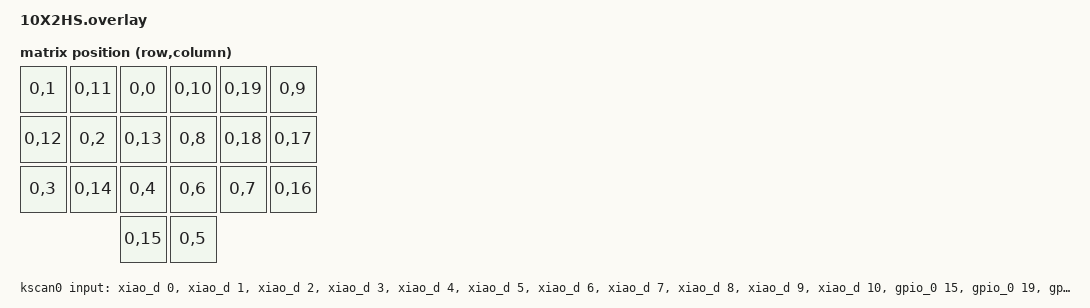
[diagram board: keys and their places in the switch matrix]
#include <dt-bindings/zmk/matrix_transform.h>
#include "10X2HS-layouts.dtsi"

/ {
    chosen {
        zmk,physical-layout = &tenxtwohs_physical_layout;
    };
};

/ {

    kscan0: kscan {
        compatible = "zmk,kscan-gpio-direct";
        input-gpios
            = <&xiao_d 0 (GPIO_ACTIVE_HIGH | GPIO_PULL_UP)>
            , <&xiao_d 1 (GPIO_ACTIVE_HIGH | GPIO_PULL_UP)>
            , <&xiao_d 2 (GPIO_ACTIVE_HIGH | GPIO_PULL_UP)>
            , <&xiao_d 3 (GPIO_ACTIVE_HIGH | GPIO_PULL_UP)>
            , <&xiao_d 4 (GPIO_ACTIVE_HIGH | GPIO_PULL_UP)>
            , <&xiao_d 5 (GPIO_ACTIVE_HIGH | GPIO_PULL_UP)>
            , <&xiao_d 6 (GPIO_ACTIVE_HIGH | GPIO_PULL_UP)>
            , <&xiao_d 7 (GPIO_ACTIVE_HIGH | GPIO_PULL_UP)>
            , <&xiao_d 8 (GPIO_ACTIVE_HIGH | GPIO_PULL_UP)>
            , <&xiao_d 9 (GPIO_ACTIVE_HIGH | GPIO_PULL_UP)>
            , <&xiao_d 10 (GPIO_ACTIVE_HIGH | GPIO_PULL_UP)>
            , <&gpio_0 15 (GPIO_ACTIVE_HIGH | GPIO_PULL_UP)>
            , <&gpio_0 19 (GPIO_ACTIVE_HIGH | GPIO_PULL_UP)>
            , <&gpio_1 1 (GPIO_ACTIVE_HIGH | GPIO_PULL_UP)>
            , <&gpio_0 9 (GPIO_ACTIVE_HIGH | GPIO_PULL_UP)>
            , <&gpio_0 10 (GPIO_ACTIVE_HIGH | GPIO_PULL_UP)>
            , <&gpio_0 31 (GPIO_ACTIVE_HIGH | GPIO_PULL_UP)>
            , <&gpio_1 3 (GPIO_ACTIVE_HIGH | GPIO_PULL_UP)>
            , <&gpio_1 5 (GPIO_ACTIVE_HIGH | GPIO_PULL_UP)>
            , <&gpio_1 7 (GPIO_ACTIVE_HIGH | GPIO_PULL_UP)>
            ;
    };
};

/ {
    default_transform: keymap_transform0 {
        compatible = "zmk,matrix-transform";
        map = <
        RC(0,1)  RC(0,11) RC(0,0)     RC(0,10) RC(0,19) RC(0,9) 
	    RC(0,12) RC(0,2)  RC(0,13)    RC(0,8)  RC(0,18) RC(0,17)
	    RC(0,3)  RC(0,14) RC(0,4)     RC(0,6)  RC(0,7)  RC(0,16)
    	    		      RC(0,15)    RC(0,5) 
        >;
    };
};
